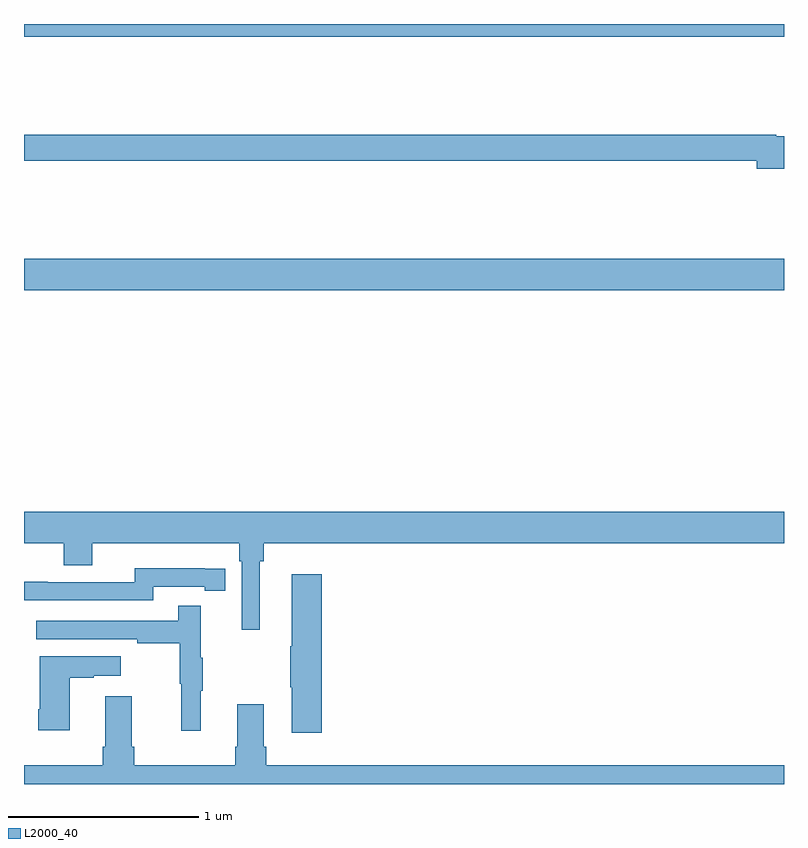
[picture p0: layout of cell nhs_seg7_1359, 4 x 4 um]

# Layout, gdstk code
import gdstk
lib = gdstk.Library(unit=1e-6, precision=1e-09)
def R(c, l, rs):  # rectangles x0, y0, x1, y1
    for r in rs: c.add(gdstk.rectangle(r[:2], r[2:], *l))
def P(c, l, *ps):  # polygons
    for p in ps: c.add(gdstk.Polygon(p, *l))
L2000_40 = (2000, 40)

nhs_seg7_1359 = lib.new_cell('nhs_seg7_1359')
R(nhs_seg7_1359, L2000_40, [(205,1016.6,209,1016.764), (205,1017.932,209,1018)])
P(nhs_seg7_1359, L2000_40, [(209,1017.41),(208.96,1017.41),(208.96,1017.416),(205,1017.416),(205,1017.28),(208.856,1017.28),(208.856,1017.238),(209,1017.238)],
  [(206.242,1015.172),(206.261,1015.172),(206.261,1015.268),(209,1015.268),(209,1015.432),(205,1015.432),(205,1015.268),(205.208,1015.268),(205.208,1015.151),(205.36,1015.151),(205.36,1015.268),(206.132,1015.268),(206.132,1015.172),(206.145,1015.172),(206.145,1014.813),(206.242,1014.813)],
  [(205.68,1015.038),(205.952,1015.038),(205.952,1015.018),(206.06,1015.018),(206.06,1015.134),(205.952,1015.134),(205.952,1015.135),(205.584,1015.135),(205.584,1015.062),(205.124,1015.062),(205.124,1015.064),(205,1015.064),(205,1014.966),(205.68,1014.966)],
  [(206.567,1015.105),(206.408,1015.105),(206.408,1014.725),(206.401,1014.725),(206.401,1014.508),(206.408,1014.508),(206.408,1014.27),(206.567,1014.27)],
  [(205.931,1014.491),(205.942,1014.491),(205.942,1014.665),(205.931,1014.665),(205.931,1014.937),(205.813,1014.937),(205.813,1014.858),(205.065,1014.858),(205.065,1014.762),(205.597,1014.762),(205.597,1014.742),(205.821,1014.742),(205.821,1014.528),(205.828,1014.528),(205.828,1014.279),(205.931,1014.279)],
  [(205.24,1014.559),(205.367,1014.559),(205.367,1014.569),(205.51,1014.569),(205.51,1014.673),(205.082,1014.673),(205.082,1014.394),(205.075,1014.394),(205.075,1014.282),(205.24,1014.282)],
  [(209,1014.1),(206.276,1014.1),(206.276,1014.196),(206.263,1014.196),(206.263,1014.421),(206.123,1014.421),(206.123,1014.196),(206.111,1014.196),(206.111,1014.1),(205.58,1014.1),(205.58,1014.196),(205.567,1014.196),(205.567,1014.463),(205.427,1014.463),(205.427,1014.196),(205.415,1014.196),(205.415,1014.1),(205,1014.1),(205,1014),(209,1014)])

lib.write_gds('nhs_seg7_1359.gds')
